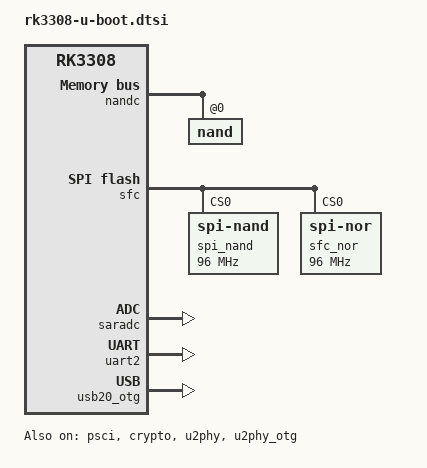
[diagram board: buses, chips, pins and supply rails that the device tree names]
/*
 * (C) Copyright 2018 Rockchip Electronics Co., Ltd
 *
 * SPDX-License-Identifier:     GPL-2.0+
 */

/ {
	aliases {
		mmc0 = &emmc;
		mmc1 = &sdmmc;
	};

	chosen {
		stdout-path = &uart2;
		u-boot,spl-boot-order = &sdmmc, &spi_nand, &spi_nor, &nandc, &emmc;
	};

	secure-otp@ff2a8000 {
		compatible = "rockchip,rk3308-secure-otp";
		reg = <0x0 0xff2a8000 0x0 0x4000>;
		secure_conf = <0xff2b0004>;
		mask_addr = <0xff540000>;
		u-boot,dm-pre-reloc;
	};
};

&psci {
	u-boot,dm-pre-reloc;
	status = "okay";
};

&dmc {
	u-boot,dm-pre-reloc;
};

&cru {
	u-boot,dm-pre-reloc;
};

&emmc {
	u-boot,dm-pre-reloc;
};

&grf {
	u-boot,dm-pre-reloc;
};

&nandc {
	u-boot,dm-pre-reloc;
	status = "okay";
	#address-cells = <1>;
	#size-cells = <0>;

	nand@0 {
		u-boot,dm-spl;
		reg = <0>;
		nand-ecc-mode = "hw";
		nand-ecc-strength = <16>;
		nand-ecc-step-size = <1024>;
	};
};

&pinctrl {
	u-boot,dm-pre-reloc;
};

&pcfg_pull_none_4ma {
	u-boot,dm-spl;
};

&pcfg_pull_up_4ma {
	u-boot,dm-spl;
};

&sdmmc {
	u-boot,dm-pre-reloc;
};

&sdmmc_pin {
	u-boot,dm-spl;
};

&sdmmc_clk {
	u-boot,dm-spl;
};

&sdmmc_cmd {
	u-boot,dm-spl;
};

&sdmmc_bus4 {
	u-boot,dm-spl;
};

&sdmmc_pwren {
	u-boot,dm-spl;
};

&sfc {
	u-boot,dm-pre-reloc;
	status = "okay";

	#address-cells = <1>;
	#size-cells = <0>;
	spi_nand: flash@0 {
		u-boot,dm-spl;
		compatible = "spi-nand";
		reg = <0>;
		spi-tx-bus-width = <1>;
		spi-rx-bus-width = <4>;
		spi-max-frequency = <96000000>;
	};
	spi_nor: flash@1 {
		u-boot,dm-spl;
		compatible = "jedec,spi-nor";
		label = "sfc_nor";
		reg = <0>;
		spi-tx-bus-width = <1>;
		spi-rx-bus-width = <4>;
		spi-max-frequency = <96000000>;
	};
};

&crypto {
	u-boot,dm-pre-reloc;
	status = "okay";
};

&saradc {
	u-boot,dm-pre-reloc;
	status = "okay";
};

&uart0 {
	u-boot,dm-pre-reloc;
};

&uart1 {
	u-boot,dm-pre-reloc;
};

&uart2 {
	u-boot,dm-pre-reloc;
	clock-frequency = <24000000>;
	status = "okay";
};

&uart3 {
	u-boot,dm-pre-reloc;
};

&uart4 {
	u-boot,dm-pre-reloc;
};

&usb2phy_grf {
	u-boot,dm-pre-reloc;
};

&u2phy {
	u-boot,dm-pre-reloc;
	status = "okay";
};

&u2phy_otg {
	u-boot,dm-pre-reloc;
	status = "okay";
};

&usb20_otg {
	u-boot,dm-pre-reloc;
	status = "okay";
};

&route_rgb {
	status = "disabled";
};
